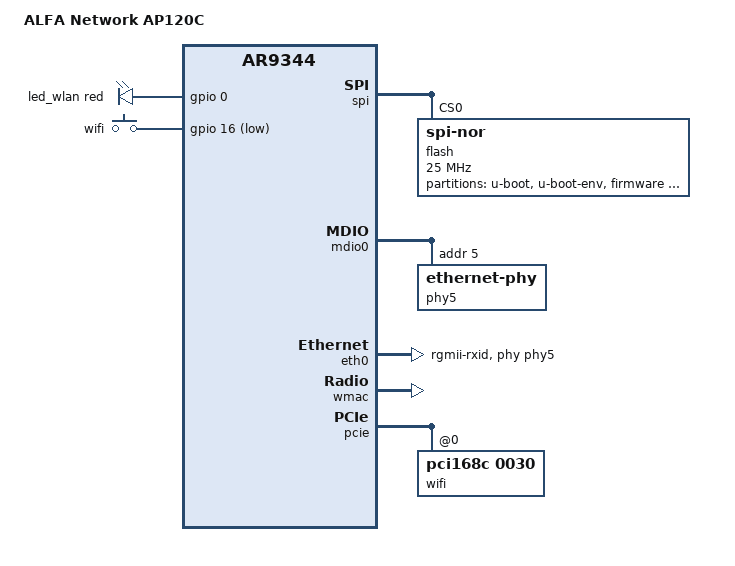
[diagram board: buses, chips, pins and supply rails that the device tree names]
// SPDX-License-Identifier: GPL-2.0-or-later OR MIT

#include "ar9344.dtsi"

#include <dt-bindings/gpio/gpio.h>
#include <dt-bindings/input/input.h>
#include <dt-bindings/leds/common.h>

/ {
	model = "ALFA Network AP120C";
	compatible = "alfa-network,ap120c", "qca,ar9344";

	chosen {
		bootargs = "console=ttyS0,115200n8";
	};

	aliases {
		led-boot = &led_wlan;
		led-failsafe = &led_wlan;
		led-running = &led_wlan;
		led-upgrade = &led_wlan;
		label-mac-device = &eth0;
	};

	leds {
		compatible = "gpio-leds";

		led_wlan: led-0 {
			function = LED_FUNCTION_WLAN;
			color = <LED_COLOR_ID_RED>;
			gpios = <&gpio 0 GPIO_ACTIVE_HIGH>;
			linux,default-trigger = "phy0tpt";
		};
	};

	keys {
		compatible = "gpio-keys";

		rfkill {
			label = "wifi";
			linux,code = <KEY_RFKILL>;
			gpios = <&gpio 16 GPIO_ACTIVE_LOW>;
			debounce-interval = <60>;
		};
	};
};

&ref {
	clock-frequency = <40000000>;
};

&spi {
	status = "okay";

	/*
	 * A second MX25L12845E sits on chip select 1 (holds the vendor's
	 * "image B"). Its CS pin mux is unknown, so it is left out for now.
	 */
	flash@0 {
		compatible = "jedec,spi-nor";
		reg = <0>;
		spi-max-frequency = <25000000>;

		partitions {
			compatible = "fixed-partitions";
			#address-cells = <1>;
			#size-cells = <1>;

			partition@0 {
				label = "u-boot";
				reg = <0x000000 0x040000>;
				read-only;
			};

			partition@40000 {
				label = "u-boot-env";
				reg = <0x040000 0x010000>;
			};

			partition@50000 {
				/*
				 * Vendor layout: rootfs @0x50000 (13312k) followed
				 * by kernel @0xd50000 (1536k). Both are merged here
				 * with the kernel first, so U-Boot's bootcmd has to
				 * be changed to "bootm 0x9f050000".
				 */
				compatible = "denx,uimage";
				label = "firmware";
				reg = <0x050000 0xe80000>;
			};

			partition@ed0000 {
				label = "data";
				reg = <0xed0000 0x120000>;
				read-only;
			};

			partition@ff0000 {
				label = "art";
				reg = <0xff0000 0x010000>;
				read-only;

				nvmem-layout {
					compatible = "fixed-layout";
					#address-cells = <1>;
					#size-cells = <1>;

					calibration_art_1000: calibration@1000 {
						reg = <0x1000 0x440>;
					};

					macaddr_art_1002: macaddr@1002 {
						compatible = "mac-base";
						reg = <0x1002 0x6>;
						#nvmem-cell-cells = <1>;
					};
				};
			};
		};
	};
};

&mdio0 {
	status = "okay";

	phy5: ethernet-phy@5 {
		reg = <5>;
		eee-broken-100tx;
		eee-broken-1000t;
	};
};

&eth0 {
	status = "okay";

	pll-data = <0x42000000 0x00000101 0x00001313>;

	nvmem-cells = <&macaddr_art_1002 0>;
	nvmem-cell-names = "mac-address";

	phy-mode = "rgmii-rxid";
	phy-handle = <&phy5>;

	gmac-config {
		device = <&gmac>;
		rgmii-gmac0 = <1>;
		rxd-delay = <2>;
		rxdv-delay = <2>;
		txd-delay = <2>;
		txen-delay = <2>;
	};
};

&wmac {
	status = "okay";

	nvmem-cells = <&macaddr_art_1002 1>, <&calibration_art_1000>;
	nvmem-cell-names = "mac-address", "calibration";
};

&pcie {
	status = "okay";

	/* 5 GHz ath9k card, calibration data comes from its own EEPROM */
	wifi@0,0 {
		compatible = "pci168c,0030";
		reg = <0x0000 0 0 0 0>;
		nvmem-cells = <&macaddr_art_1002 2>;
		nvmem-cell-names = "mac-address";
	};
};
